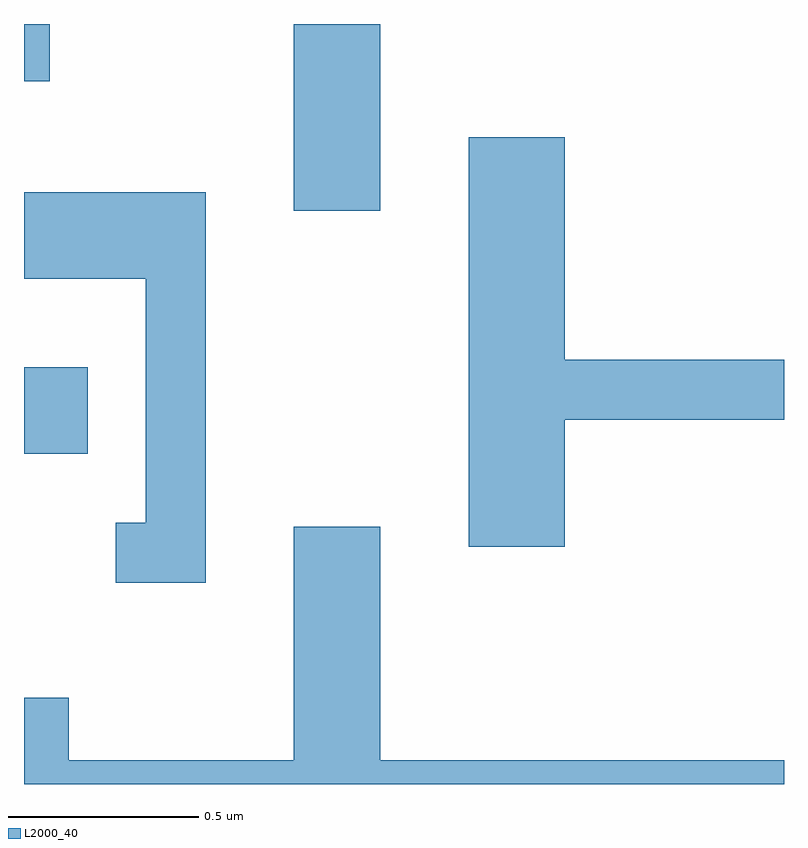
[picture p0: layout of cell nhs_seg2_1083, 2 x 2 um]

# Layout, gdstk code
import gdstk
lib = gdstk.Library(unit=1e-6, precision=1e-09)
def R(c, l, rs):  # rectangles x0, y0, x1, y1
    for r in rs: c.add(gdstk.rectangle(r[:2], r[2:], *l))
def P(c, l, *ps):  # polygons
    for p in ps: c.add(gdstk.Polygon(p, *l))
L2000_40 = (2000, 40)

nhs_seg2_1083 = lib.new_cell('nhs_seg2_1083')
R(nhs_seg2_1083, L2000_40, [(192.611,1102.671,192.779,1102.899), (193.321,1103.311,193.549,1103.802), (192.611,1103.651,192.679,1103.802)])
P(nhs_seg2_1083, L2000_40, [(194.034,1102.761),(194.611,1102.761),(194.611,1102.919),(194.034,1102.919),(194.034,1103.504),(193.781,1103.504),(193.781,1102.426),(194.034,1102.426)],
  [(193.089,1103.359),(192.611,1103.359),(192.611,1103.131),(192.931,1103.131),(192.931,1102.489),(192.853,1102.489),(192.853,1102.331),(193.089,1102.331)],
  [(194.611,1101.864),(193.549,1101.864),(193.549,1102.479),(193.321,1102.479),(193.321,1101.864),(192.729,1101.864),(192.729,1102.029),(192.611,1102.029),(192.611,1101.802),(194.611,1101.802)])

lib.write_gds('nhs_seg2_1083.gds')
